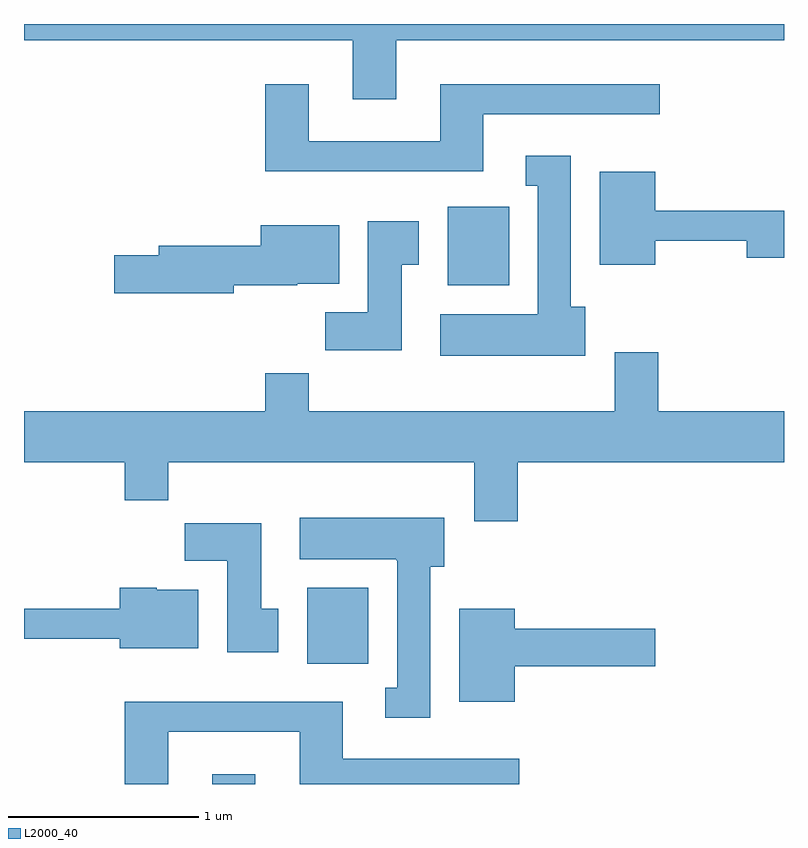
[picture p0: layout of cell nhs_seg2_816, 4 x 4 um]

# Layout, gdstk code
import gdstk
lib = gdstk.Library(unit=1e-6, precision=1e-09)
def R(c, l, rs):  # rectangles x0, y0, x1, y1
    for r in rs: c.add(gdstk.rectangle(r[:2], r[2:], *l))
def P(c, l, *ps):  # polygons
    for p in ps: c.add(gdstk.Polygon(p, *l))
L2000_40 = (2000, 40)

nhs_seg2_816 = lib.new_cell('nhs_seg2_816')
R(nhs_seg2_816, L2000_40, [(210.601,977.802,210.829,977.854), (211.101,978.436,211.424,978.834), (211.841,980.426,212.164,980.839)])
P(nhs_seg2_816, L2000_40, [(211.569,981.716),(213.611,981.716),(213.611,981.802),(209.611,981.802),(209.611,981.716),(211.341,981.716),(211.341,981.406),(211.569,981.406)],
  [(212.029,981.326),(212.958,981.326),(212.958,981.484),(211.801,981.484),(211.801,981.184),(211.109,981.184),(211.109,981.484),(210.881,981.484),(210.881,981.026),(212.029,981.026)],
  [(212.564,980.314),(212.489,980.314),(212.489,981.109),(212.253,981.109),(212.253,980.951),(212.316,980.951),(212.316,980.274),(211.801,980.274),(211.801,980.056),(212.564,980.056)],
  [(212.934,980.661),(213.416,980.661),(213.416,980.571),(213.611,980.571),(213.611,980.819),(212.934,980.819),(212.934,981.024),(212.641,981.024),(212.641,980.536),(212.934,980.536)],
  [(211.599,980.536),(211.689,980.536),(211.689,980.764),(211.421,980.764),(211.421,980.284),(211.196,980.284),(211.196,980.086),(211.599,980.086)],
  [(210.714,980.426),(211.05,980.426),(211.05,980.436),(211.269,980.436),(211.269,980.744),(210.856,980.744),(210.856,980.634),(210.321,980.634),(210.321,980.584),(210.086,980.584),(210.086,980.386),(210.714,980.386)],
  [(212.209,979.496),(213.611,979.496),(213.611,979.764),(212.949,979.764),(212.949,980.074),(212.721,980.074),(212.721,979.764),(211.109,979.764),(211.109,979.964),(210.881,979.964),(210.881,979.764),(209.611,979.764),(209.611,979.496),(210.141,979.496),(210.141,979.296),(210.369,979.296),(210.369,979.496),(211.981,979.496),(211.981,979.186),(212.209,979.186)],
  [(211.749,978.946),(211.824,978.946),(211.824,979.204),(211.061,979.204),(211.061,978.986),(211.57,978.986),(211.57,978.98),(211.576,978.98),(211.576,978.309),(211.513,978.309),(211.513,978.151),(211.749,978.151)],
  [(210.949,978.724),(210.859,978.724),(210.859,979.174),(210.456,979.174),(210.456,978.976),(210.681,978.976),(210.681,978.496),(210.949,978.496)],
  [(210.529,978.824),(210.31,978.824),(210.31,978.834),(210.116,978.834),(210.116,978.724),(209.611,978.724),(209.611,978.566),(210.116,978.566),(210.116,978.516),(210.529,978.516)],
  [(212.194,978.421),(212.934,978.421),(212.934,978.619),(212.194,978.619),(212.194,978.724),(211.901,978.724),(211.901,978.236),(212.194,978.236)],
  [(210.369,978.076),(211.061,978.076),(211.061,977.802),(212.218,977.802),(212.218,977.934),(211.289,977.934),(211.289,978.234),(210.141,978.234),(210.141,977.802),(210.369,977.802)])

lib.write_gds('nhs_seg2_816.gds')
